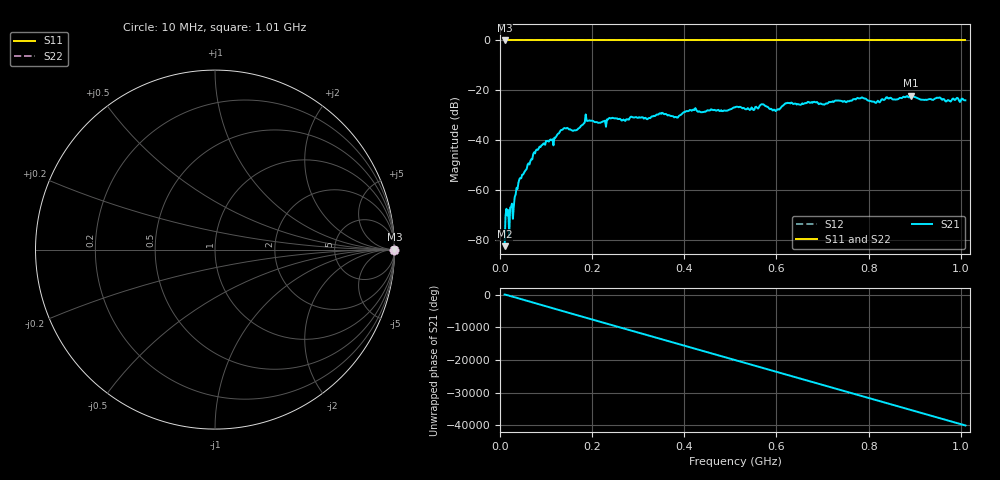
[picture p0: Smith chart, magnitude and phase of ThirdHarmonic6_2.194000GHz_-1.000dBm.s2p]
! 8/17/2025 2:09:32 AM
! C:\ANRITSUVNA\TEMP\TEMP.S2P
! CHANNEL.1
! TR.MEASUREMENT
! RAW.DATA
! RF.CORRECTION.OFF
! AVERAGING.OFF
! IF.BANDWIDTH: 5KHZ
! SWEEPTYPE:  FREQ.SWEEP(Linear)
! Reference Plane Port Info
! PORT:  PORT1  PORT2
! DISTANCE:  0  m  0  m
! TIME:  0  s  0  s
! PHASE.OFFSET:  0  deg.  0  deg.
! LOSS:  0  dB  0  dB
! REF.LOSS:  0  dB  0  dB
! REF.FREQ:  0  Hz  0  Hz
! Power Info
! POWER:  -20  dBm  -20  dBm
! EFF.POWER:  -20  dBm  -20  dBm
! SOURCE.ATTEN:  0  dB  0  dB
! TEST.ATTEN:  0  dB  0  dB
# GHZ S RI R 50.0
! FREQ.GHZ  S11RE  S11IM  S21RE  S21IM  S12RE  S12IM  S22RE  S22IM
!; PortSelection: Port_12
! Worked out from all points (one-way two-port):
!   501 points, 10 MHz to 1.01 GHz, reference 50 ohm
!   highest |S21| = -22.17 dB at 892 MHz (marker M1); lowest = -82.6 dB at 10 MHz (marker M2)
!   lowest |S11| = 0.0 dB at 10 MHz (marker M3)
!   |S11| at or under -10 dB: nowhere
!   |S22| runs from 0.0 to 0.0 dB; largest |S21 - S12| = 1.1
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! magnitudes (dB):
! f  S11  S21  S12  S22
! 10 MHz  0.0  -82.6  0.0  0.0
! 14 MHz  0.0  -67.6  0.0  0.0
! 24 MHz  0.0  -66.8  0.0  0.0
! 44 MHz  0.0  -55.2  0.0  0.0
! 76 MHz  0.0  -45.3  0.0  0.0
! 136 MHz  0.0  -35.8  0.0  0.0
! 162 MHz  0.0  -36.0  0.0  0.0
! 178 MHz  0.0  -34.0  0.0  0.0
! 190 MHz  0.0  -32.3  0.0  0.0
! 226 MHz  0.0  -32.4  0.0  0.0
! 344 MHz  0.0  -29.7  0.0  0.0
! 382 MHz  0.0  -30.7  0.0  0.0
! 422 MHz  0.0  -27.9  0.0  0.0
! 510 MHz  0.0  -26.9  0.0  0.0
! 548 MHz  0.0  -27.3  0.0  0.0
! 570 MHz  0.0  -25.7  0.0  0.0
! 596 MHz  0.0  -27.9  0.0  0.0
! 622 MHz  0.0  -25.2  0.0  0.0
! 678 MHz  0.0  -25.0  0.0  0.0
! 844 MHz  0.0  -23.3  0.0  0.0
! 892 MHz  0.0  -22.2  0.0  0.0
! 1.01 GHz  0.0  -24.0  0.0  0.0
